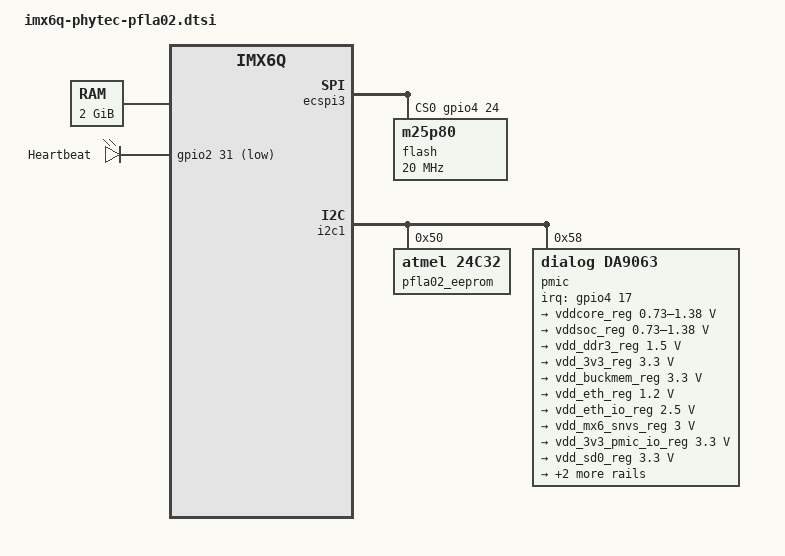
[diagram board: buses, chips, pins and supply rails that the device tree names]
/*
 * Copyright 2013 Christian Hemp, Phytec Messtechnik GmbH
 *
 * The code contained herein is licensed under the GNU General Public
 * License. You may obtain a copy of the GNU General Public License
 * Version 2 or later at the following locations:
 *
 * http://www.opensource.org/licenses/gpl-license.html
 * http://www.gnu.org/copyleft/gpl.html
 */

#include "imx6q.dtsi"
#include "include/dt-bindings/gpio/gpio.h"
/ {
	aliases {
		mxcfb0 = &mxcfb1;
		mxcfb1 = &mxcfb2;
    };

	memory {
		reg = <0x10000000 0x80000000>;
	};
    leds: leds {
        compatible = "gpio-leds";

        heartbeat {
            label = "Heartbeat";
            gpios = <&gpio2 31 GPIO_ACTIVE_LOW>;
            linux,default-trigger = "heartbeat";
        };
    };

    /* NOTE: flexCAN per parent clock (pll3_60m) isn't being turned on by can_root enable, 
     *       so the "per" clock enable for can{1,2}_serial fails, making the mcr set fail for RX FIFO.
     *       Overriding default soc clock enables. -cnc
     */
    soc {
        busfreq {
        clocks = <&clks 171>, <&clks 6>, <&clks 11>, <&clks 104>, <&clks 172>, <&clks 58>,
                <&clks 18>, <&clks 60>, <&clks 20>, <&clks 3>, <&clks 14>, <&clks 101>;
        /* &clks 54 emi_slow_sel */

        clock-names = "pll2_bus", "pll2_pfd2_396m", "pll2_198m", "arm", "pll3_usb_otg", "periph",
                    "periph_pre", "periph_clk2", "periph_clk2_sel", "osc", "pll3_60m","axi";
        };
    };
	mxcfb1: fb@0 {
		compatible = "fsl,mxc_sdc_fb";
		disp_dev = "hdmi";
		interface_pix_fmt = "RGB24";
		mode_str ="1920x1080M@60";
		default_bpp = <16>;
		int_clk = <0>;
		late_init = <0>;
		status = "disabled";
	};

	mxcfb2: fb@1 {
		compatible = "fsl,mxc_sdc_fb";
		disp_dev = "ldb";
		interface_pix_fmt = "RGB666";
		mode_str ="Primeview-PM070WL4";
		default_bpp = <16>;
		int_clk = <0>;
		late_init = <0>;
		status = "disabled";
	};
};

&ecspi3 {
	pinctrl-names = "default";
	pinctrl-0 = <&pinctrl_ecspi3_1>;
	status = "okay";
	fsl,spi-num-chipselects = <1>;
	cs-gpios = <&gpio4 24 GPIO_ACTIVE_HIGH>;

	flash@0 {
		compatible = "m25p80";
		spi-max-frequency = <20000000>;
		reg = <0>;
	};
};

&i2c1 {
	pinctrl-names = "default";
	pinctrl-0 = <&pinctrl_i2c1_1>;
	status = "okay";

	pfla02_eeprom: eeprom@50 {
		compatible = "atmel,24c32";
		reg = <0x50>;
		pagesize = <32>;
	};

	pmic@58 {
		compatible = "dialog,da9063";
		reg = <0x58>;
		interrupt-parent = <&gpio4>;
		interrupts = <17 0x8>; /* active-low GPIO4_17 */

		regulators {
			vddcore_reg: bcore1 {
				regulator-min-microvolt = <730000>;
				regulator-max-microvolt = <1380000>;
				regulator-always-on;
			};

			vddsoc_reg: bcore2 {
				regulator-min-microvolt = <730000>;
				regulator-max-microvolt = <1380000>;
				regulator-always-on;
			};

			vdd_ddr3_reg: bpro {
				regulator-min-microvolt = <1500000>;
				regulator-max-microvolt = <1500000>;
				regulator-always-on;
			};

			vdd_3v3_reg: bperi {
				regulator-min-microvolt = <3300000>;
				regulator-max-microvolt = <3300000>;
				regulator-always-on;
			};

			vdd_buckmem_reg: bmem {
				regulator-min-microvolt = <3300000>;
				regulator-max-microvolt = <3300000>;
				regulator-always-on;
			};

			vdd_eth_reg: bio {
				regulator-min-microvolt = <1200000>;
				regulator-max-microvolt = <1200000>;
				regulator-always-on;
			};

			vdd_eth_io_reg: ldo4 {
				regulator-min-microvolt = <2500000>;
				regulator-max-microvolt = <2500000>;
				regulator-always-on;
			};

			vdd_mx6_snvs_reg: ldo5 {
				regulator-min-microvolt = <3000000>;
				regulator-max-microvolt = <3000000>;
				regulator-always-on;
			};

			vdd_3v3_pmic_io_reg: ldo6 {
				regulator-min-microvolt = <3300000>;
				regulator-max-microvolt = <3300000>;
				regulator-always-on;
			};

			vdd_sd0_reg: ldo9 {
                regulator-name = "vmmc_3v3";
                compatible = "regulator-fixed";
				regulator-min-microvolt = <3300000>;
				regulator-max-microvolt = <3300000>;
			};

			vdd_sd1_reg: ldo10 {
				regulator-min-microvolt = <3300000>;
				regulator-max-microvolt = <3300000>;
			};

			vdd_mx6_high_reg: ldo11 {
				regulator-min-microvolt = <3000000>;
				regulator-max-microvolt = <3000000>;
				regulator-always-on;
			};
		};
	};
};

&iomuxc {
	pinctrl-names = "default";
	pinctrl-0 = <&pinctrl_hog>;
						
    /* Pin Hogging, these are grabbed by the CPU immediately on boot. Being used below for
     * maintaining settings made by bootloader.
     */
	hog {
		pinctrl_hog: hoggrp {
			fsl,pins = <
/*				MX6QDL_PAD_EIM_D23__GPIO3_IO23     0x80000000 *//* RGMII_nRST */
				MX6QDL_PAD_DISP0_DAT3__GPIO4_IO24  0x80000000 /* SPI0_CSBOOT NOR */
                MX6QDL_PAD_DISP0_DAT4__GPIO4_IO25  0x80000000 /* SPI0_CS0 */
                MX6QDL_PAD_DISP0_DAT5__GPIO4_IO26  0x80000000 /* SPI0_CS1 */
                MX6QDL_PAD_SD1_DAT1__GPIO1_IO17    0x80000000 /* SPI1_CS0 */
				MX6QDL_PAD_DI0_PIN15__GPIO4_IO17   0x80000000 /* PMIC interrupt */
                /* MX6QDL_PAD_GPIO_0__USB_H1_PWR      0x80000000*/ /* USBH1_PWR */
                /* MX6QDL_PAD_GPIO_3__USB_H1_OC       0x80000000*/ /* USBH1_OC */
                /* MX6QDL_PAD_KEY_ROW4__GPIO4_IO15    0x80000000*/ /* OTG_PWR */
                /* MX6QDL_PAD_KEY_COL4__USB_OTG_OC    0x80000000*/ /* OTG_OC */
                MX6QDL_PAD_EIM_EB3__GPIO2_IO31     0x80000000 /* Red SOM LED */
                MX6QDL_PAD_ENET_TXD0__GPIO1_IO30   0x80000000 /* Green SOM LED */
			>;
		};
	};

	pfla02 {
        /* SD1 @ X1 */
        pinctrl_usdhc2_pfla02: usdhc2grp-pfla02 {
            fsl,pins = <
                MX6QDL_PAD_SD2_CMD__SD2_CMD         0x170F1 
                MX6QDL_PAD_SD2_CLK__SD2_CLK         0x100F1 
                MX6QDL_PAD_SD2_DAT0__SD2_DATA0      0x170F1 
                MX6QDL_PAD_SD2_DAT1__SD2_DATA1      0x170F1 
                MX6QDL_PAD_SD2_DAT2__SD2_DATA2      0x170F1 
                MX6QDL_PAD_SD2_DAT3__SD2_DATA3      0x170F1 
                MX6QDL_PAD_GPIO_2__GPIO1_IO02       0x80000000 
                MX6QDL_PAD_GPIO_4__GPIO1_IO04       0x80000000
            >;
        };
        /* SD0 @ X1 */
        /* override speed, setting to 200MHZ, was 0x17071 */
        pinctrl_usdhc3_pfla02_def: usdhc3grp1-pfla02 {
			fsl,pins = <
                MX6QDL_PAD_SD3_CMD__SD3_CMD         0x170F1 
                MX6QDL_PAD_SD3_CLK__SD3_CLK         0x100F1 
                MX6QDL_PAD_SD3_DAT0__SD3_DATA0      0x170F1 
                MX6QDL_PAD_SD3_DAT1__SD3_DATA1      0x170F1 
                MX6QDL_PAD_SD3_DAT2__SD3_DATA2      0x170F1 
                MX6QDL_PAD_SD3_DAT3__SD3_DATA3      0x170F1 
			>;
		};
        /* nCD and nWP */
        pinctrl_usdhc3_pfla02_gpio: usdhc3grp2-pfla02 {
			fsl,pins = <
				MX6QDL_PAD_ENET_RXD0__GPIO1_IO27 0x80000000
				MX6QDL_PAD_ENET_TXD1__GPIO1_IO29 0x80000000
			>;
		};
        /*
         * wl12xx GPIO outputs for WLAN_EN, BT_EN
         * NOTE: Do *NOT* set the WLAN_nIRQ value to 0x80000000, will cause failure
         */
        pinctrl_wl12xx_pfla02: wl12xxgrp1-pfla02 {
            fsl,pins = <
                MX6QDL_PAD_SD3_CMD__SD3_CMD         0x170F1 
                MX6QDL_PAD_SD3_CLK__SD3_CLK         0x170F1  /* changed to pullup per TI patches */
                MX6QDL_PAD_SD3_DAT0__SD3_DATA0      0x170F1 
                MX6QDL_PAD_SD3_DAT1__SD3_DATA1      0x170F1 
                MX6QDL_PAD_SD3_DAT2__SD3_DATA2      0x170F1 
                MX6QDL_PAD_SD3_DAT3__SD3_DATA3      0x170F1 
                /* SD0_D7/WLAN_nIRQ -> SD3_DAT7__GPIO6_17 */
                MX6QDL_PAD_SD3_DAT7__GPIO6_IO17     0x100F1 
                /* SD0_D4/BT_EN -> SD3_DAT4__GPIO7_1 */
                MX6QDL_PAD_SD3_DAT4__GPIO7_IO01  0x80000000 
            >;
        };
        pinctrl_wl12xx_pfla02_gpio: wl12xxgrp2-pfla02 {
            fsl,pins = <
                MX6QDL_PAD_SD3_DAT6__GPIO6_IO18    0x170F1  /* WLAN_EN */
            >;
        };
        pinctrl_stmpe811_pfla02: stmpe811grp-pfla02 {
            fsl,pins = <
                MX6QDL_PAD_DISP0_DAT14__GPIO5_IO08 0x80000000
            >;
        };
        pinctrl_uart3_pfla02: uart3grp-pfla02 {
			fsl,pins = <
				MX6QDL_PAD_EIM_D24__UART3_TX_DATA 0x1b0b1
				MX6QDL_PAD_EIM_D25__UART3_RX_DATA 0x1b0b1
				MX6QDL_PAD_EIM_D30__UART3_CTS_B   0x1b0b1
				MX6QDL_PAD_EIM_D31__UART3_RTS_B   0x1b0b1
			>;
		};
        pinctrl_usbh1_pfla02: usbh1grp-pfla02 {
            fsl,pins = <
                MX6QDL_PAD_GPIO_3__USB_H1_OC  0x80000000 
                MX6QDL_PAD_GPIO_0__USB_H1_PWR 0x80000000
            >;
        };
		pinctrl_pwm1_pfla02: pwm1grp-pfla02 {
			fsl,pins = <
				MX6QDL_PAD_DISP0_DAT8__PWM1_OUT 0x1b0b1
			>;
		};
    };
};

&fec {
	pinctrl-names = "default";
	pinctrl-0 = <&pinctrl_enet_3>;
	phy-mode = "rgmii";
	phy-reset-gpios = <&gpio3 23 GPIO_ACTIVE_HIGH>;
	status = "disabled";
};

